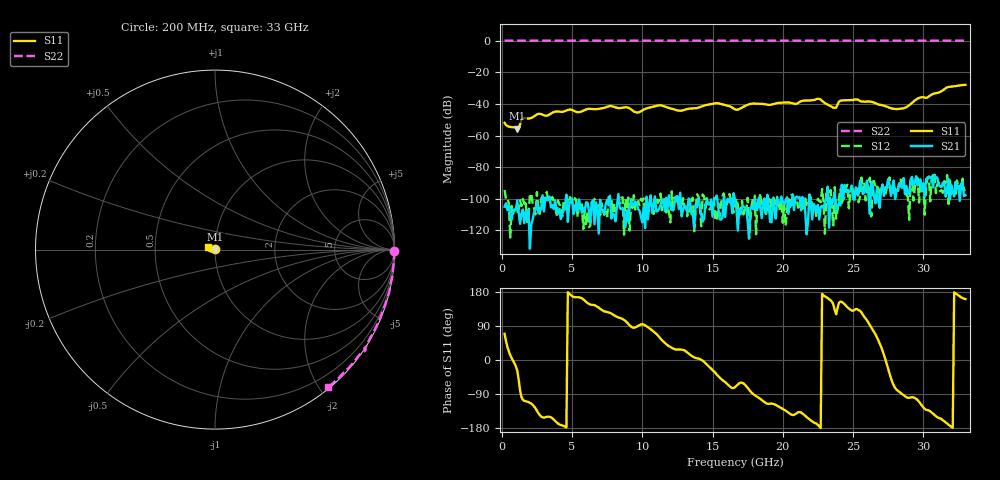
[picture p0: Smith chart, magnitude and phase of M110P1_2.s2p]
# GHZ S RI R 50
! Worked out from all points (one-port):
!   329 points, 200 MHz to 33 GHz, reference 50 ohm
!   lowest |S11| = -55.6 dB at 1.1 GHz (marker M1), VSWR 1.00, Z = 50.1 - j0.0773 ohm
!   |S11| at or under -10 dB: start of sweep to end of sweep
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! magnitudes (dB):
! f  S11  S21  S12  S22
! 200 MHz  -52.0  -105.0  -94.4  0.0
! 1.1 GHz  -55.6  -100.9  -108.8  0.0
! 1.5 GHz  -49.0  -106.7  -100.1  0.0
! 2.6 GHz  -46.3  -109.0  -107.3  0.0
! 5.7 GHz  -44.7  -108.8  -103.6  0.0
! 7.7 GHz  -41.3  -98.1  -98.9  0.0
! 9.7 GHz  -45.4  -106.5  -101.5  0.0
! 11.2 GHz  -40.9  -106.3  -101.1  0.0
! 12.7 GHz  -44.3  -96.2  -100.1  0.0
! 15.3 GHz  -39.6  -97.9  -112.5  0.0
! 16.6 GHz  -43.4  -100.2  -105.0  0.0
! 17.8 GHz  -39.9  -105.2  -103.2  0.0
! 20.9 GHz  -40.1  -99.4  -102.3  0.0
! 22.1 GHz  -37.7  -113.0  -105.8  0.0
! 22.6 GHz  -36.9  -113.0  -101.5  0.0
! 23.7 GHz  -42.6  -95.8  -92.6  0.0
! 24.1 GHz  -38.0  -104.2  -94.0  0.0
! 25.3 GHz  -37.2  -97.2  -93.6  0.0
! 27.6 GHz  -42.4  -90.6  -86.5  0.0
! 28.6 GHz  -42.8  -86.9  -87.1  -0.1
! 29.6 GHz  -36.6  -91.6  -86.9  -0.1
! 33 GHz  -27.9  -97.7  -94.3  -0.1
